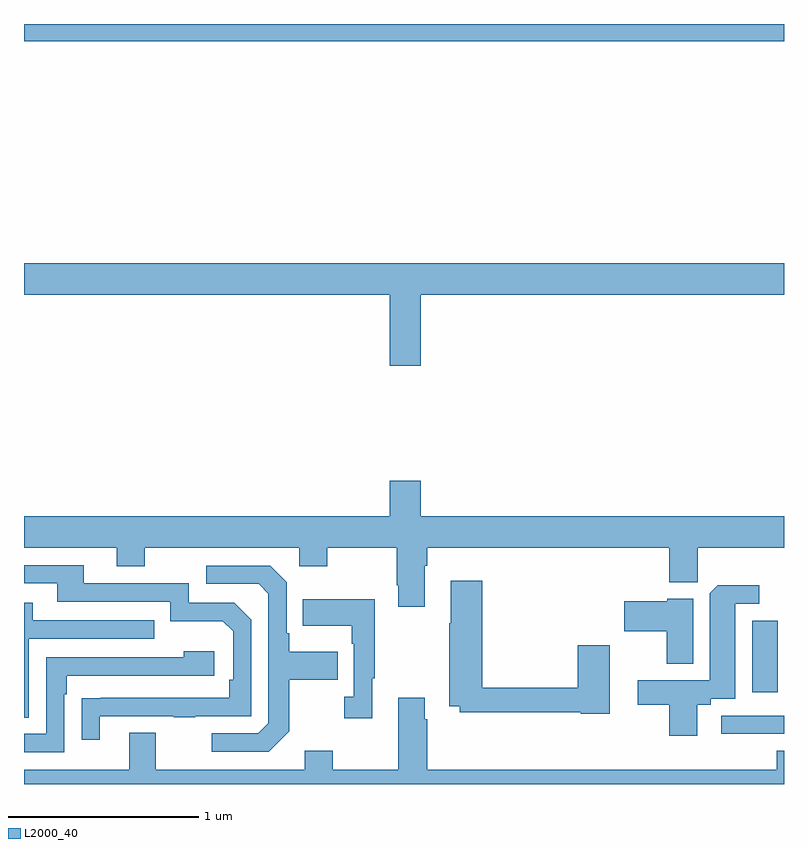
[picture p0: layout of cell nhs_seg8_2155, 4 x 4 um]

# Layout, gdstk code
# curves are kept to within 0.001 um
import gdstk
lib = gdstk.Library(unit=1e-6, precision=1e-09)
def R(c, l, rs):  # rectangles x0, y0, x1, y1
    for r in rs: c.add(gdstk.rectangle(r[:2], r[2:], *l))
def P(c, l, *ps):  # polygons
    for p in ps: c.add(gdstk.Polygon(p, *l))
L2000_40 = (2000, 40)

nhs_seg8_2155 = lib.new_cell('nhs_seg8_2155')
R(nhs_seg8_2155, L2000_40, [(250.671,1138.164,251,1138.26), (250.832,1138.383,250.966,1138.759), (247,1141.808,251,1141.9)])
P(nhs_seg8_2155, L2000_40, [(249.088,1140.476),(251,1140.476),(251,1140.64),(247,1140.64),(247,1140.476),(248.924,1140.476),(248.924,1140.102),(249.088,1140.102)],
  [(249.109,1139.048),(249.122,1139.048),(249.122,1139.144),(250.397,1139.144),(250.397,1138.962),(250.547,1138.962),(250.547,1139.144),(251,1139.144),(251,1139.308),(249.088,1139.308),(249.088,1139.497),(248.924,1139.497),(248.924,1139.308),(247,1139.308),(247,1139.144),(247.487,1139.144),(247.487,1139.045),(247.635,1139.045),(247.635,1139.144),(248.448,1139.144),(248.448,1139.045),(248.595,1139.045),(248.595,1139.144),(248.962,1139.144),(248.962,1138.945),(248.969,1138.945),(248.969,1138.833),(249.109,1138.833)],
  [(247.399,1138.257),(247.789,1138.257),(247.789,1138.252),(247.901,1138.252),(247.901,1138.257),(248.196,1138.257),(248.196,1138.764),(248.106,1138.854),(247.866,1138.854),(247.866,1138.956),(247.315,1138.956),(247.315,1139.052),(247,1139.052),(247,1138.956),(247.175,1138.956),(247.175,1138.86),(247.77,1138.86),(247.77,1138.757),(248.047,1138.757),(248.1,1138.704),(248.1,1138.45),(248.08,1138.45),(248.08,1138.353),(247.303,1138.352),(247.303,1138.134),(247.399,1138.134)],
  [(248.395,1138.177),(248.395,1138.45),(248.651,1138.45),(248.651,1138.597),(248.395,1138.597),(248.395,1138.693),(248.382,1138.693),(248.382,1138.962),(248.295,1139.049),(247.959,1139.049),(247.959,1138.953),(248.235,1138.953),(248.286,1138.902),(248.286,1138.221),(248.232,1138.167),(247.989,1138.167),(247.989,1138.071),(248.289,1138.071)],
  [(250.084,1138.63),(249.914,1138.63),(249.914,1138.406),(249.413,1138.406),(249.413,1138.969),(249.245,1138.969),(249.245,1138.745),(249.238,1138.745),(249.238,1138.31),(249.294,1138.31),(249.294,1138.278),(249.93,1138.278),(249.93,1138.27),(250.084,1138.27)],
  [(250.543,1138.318),(250.614,1138.318),(250.614,1138.35),(250.744,1138.35),(250.744,1138.848),(250.87,1138.848),(250.87,1138.946),(250.652,1138.946),(250.61,1138.904),(250.61,1138.446),(250.23,1138.447),(250.23,1138.318),(250.396,1138.318),(250.396,1138.155),(250.543,1138.155)],
  [(250.522,1138.876),(250.386,1138.876),(250.386,1138.861),(250.158,1138.861),(250.158,1138.703),(250.382,1138.703),(250.382,1138.532),(250.522,1138.532)],
  [(248.833,1138.457),(248.845,1138.457),(248.845,1138.873),(248.467,1138.873),(248.467,1138.733),(248.724,1138.733),(248.724,1138.637),(248.736,1138.637),(248.736,1138.358),(248.685,1138.358),(248.685,1138.245),(248.833,1138.245)],
  [(247.026,1138.665),(247.685,1138.665),(247.685,1138.761),(247.045,1138.761),(247.045,1138.855),(247,1138.855),(247,1138.249),(247.026,1138.249)],
  [(247.212,1138.373),(247.225,1138.373),(247.225,1138.47),(248.002,1138.47),(248.002,1138.6),(247.841,1138.6),(247.841,1138.566),(247.116,1138.566),(247.116,1138.164),(247,1138.164),(247,1138.068),(247.212,1138.068)],
  [(251,1138.075),(250.961,1138.075),(250.961,1137.976),(249.122,1137.976),(249.122,1138.241),(249.109,1138.241),(249.109,1138.354),(248.969,1138.354),(248.969,1137.976),(248.625,1137.976),(248.625,1138.075),(248.477,1138.075),(248.477,1137.976),(247.693,1137.976),(247.693,1138.171),(247.553,1138.171),(247.553,1137.976),(247,1137.976),(247,1137.9),(251,1137.9)])

lib.write_gds('nhs_seg8_2155.gds')
